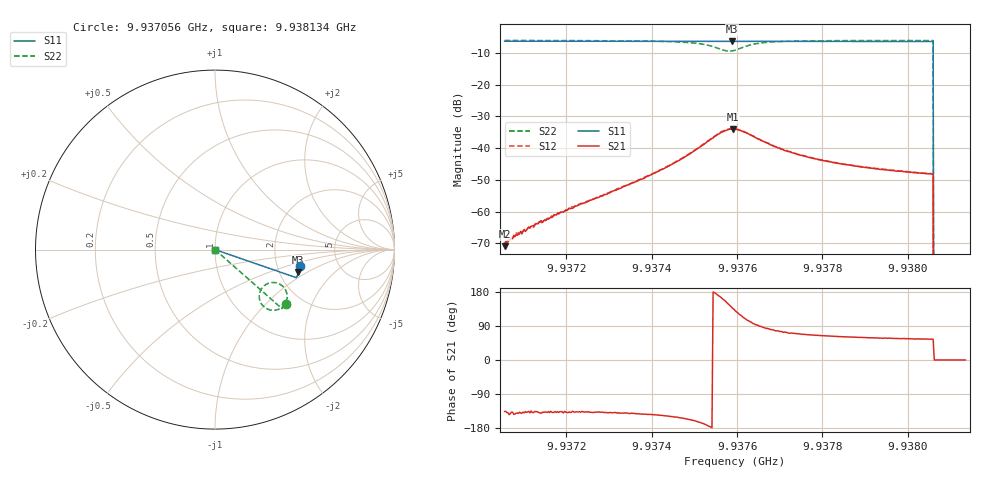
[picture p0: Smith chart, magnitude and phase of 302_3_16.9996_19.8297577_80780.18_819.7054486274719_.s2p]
#  HZ  S  RI  R  50.00
! Rohde & Schwarz Vector Network Analyzer
! Rohde-Schwarz,ZNB20-2Port,1311601062101988,3.16
! Created: UTC 3/20/2024, 11:05:39 PM
! freq[Hz]  re:S11  im:S11  re:S21  im:S21  re:S12  im:S12  re:S22  im:S22
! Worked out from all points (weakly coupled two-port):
!   401 points, 9.937056 GHz to 9.938134 GHz, reference 50 ohm
!   highest |S21| = -33.94 dB at 9.93759 GHz (marker M1); lowest = -70.9 dB at 9.937056 GHz (marker M2)
!   lowest |S11| = -6.4 dB at 9.937587 GHz (marker M3), VSWR 2.85, Z = 127 - j41.3 ohm
!   |S11| at or under -10 dB: 9.938059 GHz to end of sweep
!   |S22| runs from - to -6.0 dB; largest |S21 - S12| = 0.00095
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9.937056e9  0.4757 -0.0915  -0.000205 -0.000199  -0.000249 -0.000201  0.3957 -0.3028
9.9370721e9  0.4755 -0.0926  -0.000278 -0.000255  -0.000315 -0.000227  0.3947 -0.3038
9.9370829e9  0.4753 -0.0933  -0.000336 -0.000279  -0.000357 -0.00029  0.394 -0.3046
9.9371153e9  0.4747 -0.0956  -0.000417 -0.000357  -0.000417 -0.000375  0.3916 -0.307
9.9372366e9  0.4726 -0.1036  -0.000965 -0.000937  -0.000999 -0.000893  0.3808 -0.3166
9.9373229e9  0.4708 -0.1096  -0.00171 -0.00149  -0.0018 -0.00146  0.37 -0.3245
9.9374173e9  0.4685 -0.116  -0.00363 -0.00247  -0.00371 -0.00244  0.3494 -0.3344
9.9374685e9  0.4674 -0.1194  -0.00595 -0.00305  -0.00609 -0.00299  0.3275 -0.3383
9.9375251e9  0.4656 -0.1231  -0.0116 -0.00211  -0.012 -0.00189  0.2802 -0.3246
9.9375629e9  0.4639 -0.1249  -0.0171 0.00466  -0.0174 0.00537  0.2466 -0.263
9.9375871e9  0.4632 -0.1256  -0.0151 0.0129  -0.0149 0.0136  0.2738 -0.2016
9.9375898e9  0.4633 -0.1257  -0.0145 0.0139  -0.0143 0.0145  0.2802 -0.1968
9.9375952e9  0.4632 -0.1257  -0.0129 0.015  -0.0127 0.0157  0.2939 -0.1891
9.9376222e9  0.4636 -0.1271  -0.00489 0.0167  -0.00451 0.0169  0.3589 -0.1913
9.9376518e9  0.4636 -0.1293  0.000118 0.0137  0.000517 0.0138  0.3921 -0.2232
9.9377138e9  0.4627 -0.1339  0.00265 0.00868  0.00282 0.00877  0.4019 -0.2691
9.9377759e9  0.4613 -0.1383  0.00284 0.00637  0.003 0.00635  0.3967 -0.2913
9.9378513e9  0.4593 -0.1433  0.00268 0.00485  0.0028 0.00487  0.3893 -0.3067
9.9379565e9  0.4568 -0.1501  0.00242 0.0038  0.00254 0.00382  0.3806 -0.3195
9.9380536e9  0.4542 -0.1563  0.00225 0.00321  0.00235 0.0032  0.3734 -0.3282
9.938067e9  0 0  0 0  0 0  0 0
9.9381345e9  0 0  0 0  0 0  0 0
